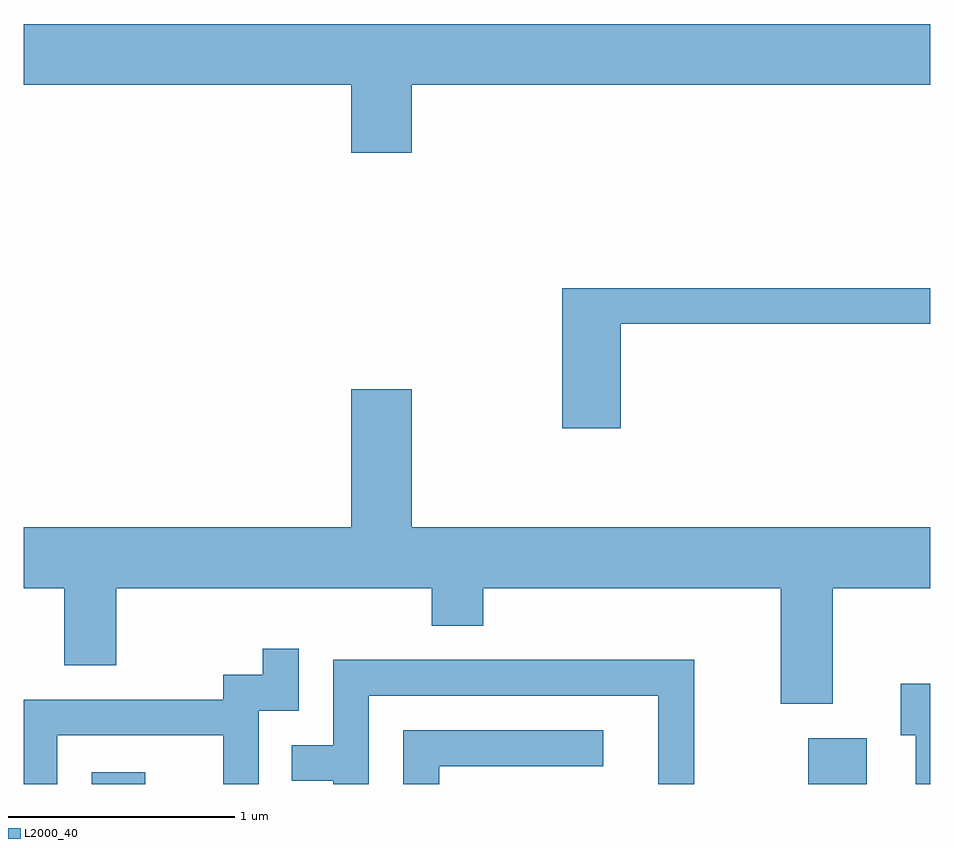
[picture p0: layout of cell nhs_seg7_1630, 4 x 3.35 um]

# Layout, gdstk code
import gdstk
lib = gdstk.Library(unit=1e-6, precision=1e-09)
def R(c, l, rs):  # rectangles x0, y0, x1, y1
    for r in rs: c.add(gdstk.rectangle(r[:2], r[2:], *l))
def P(c, l, *ps):  # polygons
    for p in ps: c.add(gdstk.Polygon(p, *l))
L2000_40 = (2000, 40)

nhs_seg7_1630 = lib.new_cell('nhs_seg7_1630')
R(nhs_seg7_1630, L2000_40, [(233.911,1802.252,234.148,1802.304), (237.071,1802.252,237.329,1802.454)])
P(nhs_seg7_1630, L2000_40, [(235.324,1805.336),(237.611,1805.336),(237.611,1805.604),(233.611,1805.604),(233.611,1805.336),(235.056,1805.336),(235.056,1805.036),(235.324,1805.036)],
  [(236.244,1804.281),(237.611,1804.281),(237.611,1804.439),(235.986,1804.439),(235.986,1803.821),(236.244,1803.821)],
  [(235.324,1803.994),(235.056,1803.994),(235.056,1803.384),(233.611,1803.384),(233.611,1803.116),(233.791,1803.116),(233.791,1802.776),(234.019,1802.776),(234.019,1803.116),(235.411,1803.116),(235.411,1802.951),(235.639,1802.951),(235.639,1803.116),(236.951,1803.116),(236.951,1802.606),(237.179,1802.606),(237.179,1803.116),(237.611,1803.116),(237.611,1803.384),(235.324,1803.384)],
  [(233.759,1802.466),(234.491,1802.466),(234.491,1802.252),(234.649,1802.252),(234.649,1802.576),(234.824,1802.576),(234.824,1802.848),(234.666,1802.848),(234.666,1802.734),(234.491,1802.734),(234.491,1802.624),(233.611,1802.624),(233.611,1802.252),(233.759,1802.252)],
  [(235.134,1802.641),(236.411,1802.641),(236.411,1802.252),(236.569,1802.252),(236.569,1802.799),(234.976,1802.799),(234.976,1802.424),(234.793,1802.424),(234.793,1802.266),(234.976,1802.266),(234.976,1802.252),(235.134,1802.252)],
  [(237.611,1802.694),(237.481,1802.694),(237.481,1802.466),(237.546,1802.466),(237.546,1802.252),(237.611,1802.252)],
  [(235.444,1802.331),(236.168,1802.331),(236.168,1802.489),(235.286,1802.489),(235.286,1802.252),(235.444,1802.252)])

lib.write_gds('nhs_seg7_1630.gds')
